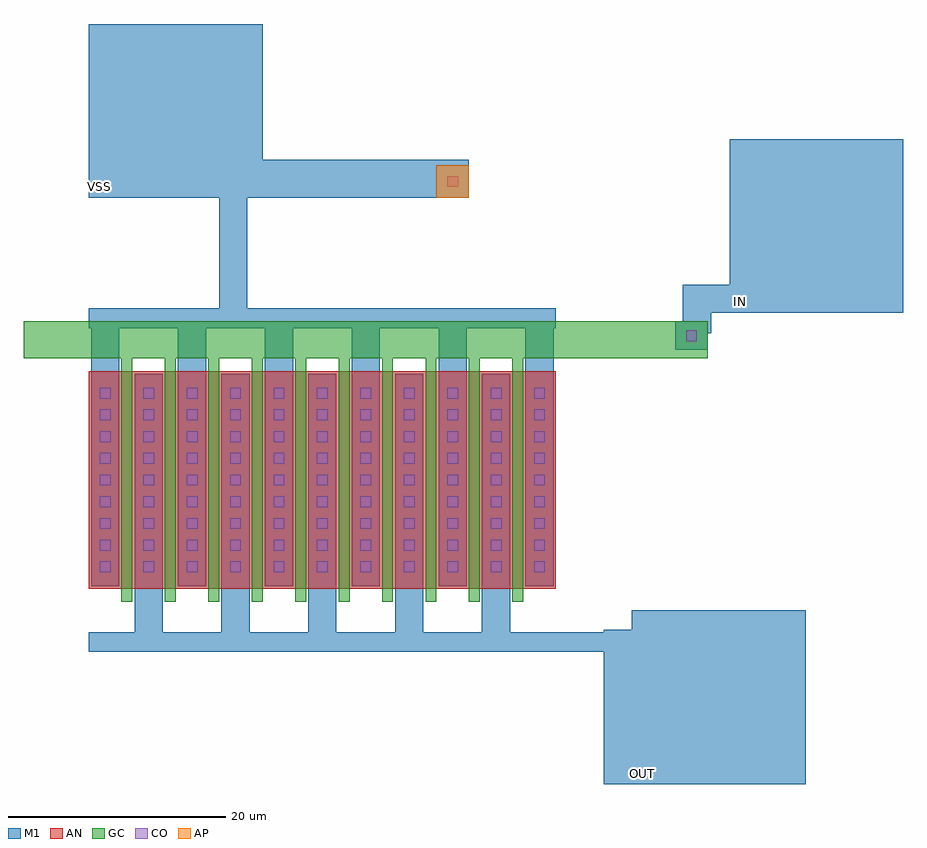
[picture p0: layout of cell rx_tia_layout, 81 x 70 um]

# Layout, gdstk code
import gdstk
lib = gdstk.Library(unit=1e-6, precision=1e-09)
def R(c, l, rs):  # rectangles x0, y0, x1, y1
    for r in rs: c.add(gdstk.rectangle(r[:2], r[2:], *l))
def A(c, l, x, y, w, h, nx, ny, dx, dy):  # array of equal rectangles
    R(c, l, [(x+i*dx, y+j*dy, x+i*dx+w, y+j*dy+h) for i in range(nx) for j in range(ny)])
AP = (3, 1)
AN = (3, 2)
GC = (8, 1)
CO = (11, 0)
M1 = (13, 0)

rx_tia_layout = lib.new_cell('rx_tia_layout')
R(rx_tia_layout, AP, [(32,36,35,39)])
R(rx_tia_layout, AN, [(0,0,43,20)])
A(rx_tia_layout, GC, 3, -1.2, 1, 22.4, 10, 1, 4, 0)
R(rx_tia_layout, GC, [(-6,21.2,57,24.6)])
A(rx_tia_layout, CO, 1, 1.5, 1, 1, 11, 9, 4, 2)
R(rx_tia_layout, CO, [(55,22.8,56,23.8), (33,37,34,38)])
A(rx_tia_layout, M1, 4.2, -4, 2.6, 23.8, 5, 1, 8, 0)
A(rx_tia_layout, M1, 0.2, 0.2, 2.6, 23.8, 6, 1, 8, 0)
R(rx_tia_layout, M1, [(47.4,-18,52.6,-3.8), (50,-18,66,-2), (0,-5.8,43,-4), (43,-5.8,52,-4), (54,22,57,24.6), (54.7,23.5,57.3,28), (0,24,43,25.8), (54.7,25.4,61.6,28), (59,25.4,75,41.4), (12,25.8,14.6,38), (0,36,16,52), (15,36,35,39.5)])
rx_tia_layout.add(gdstk.Label('VSS', (1,37), layer=48, texttype=0))
rx_tia_layout.add(gdstk.Label('OUT', (51,-17), layer=48, texttype=0))
rx_tia_layout.add(gdstk.Label('IN', (60,26.4), layer=48, texttype=0))

lib.write_gds('rx_tia_layout.gds')
